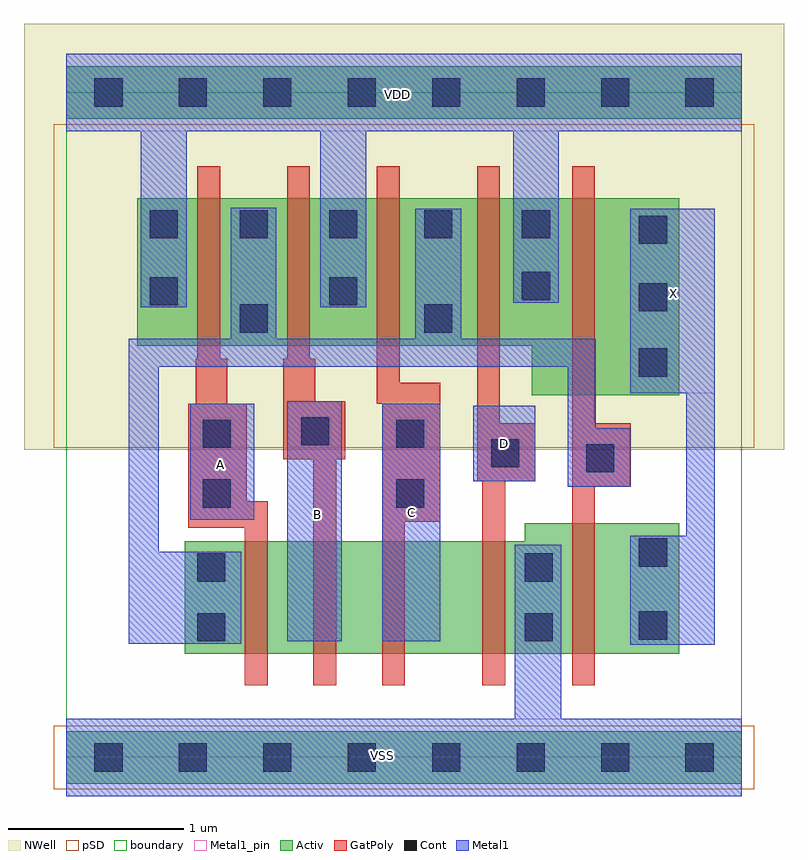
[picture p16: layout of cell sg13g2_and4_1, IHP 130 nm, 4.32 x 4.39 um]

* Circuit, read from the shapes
.subckt sg13g2_and4_1 A B C D VDD VSS X
XM1 n1 A n2 VSS sg13_lv_nmos w=0.64u l=0.13u
XM2 n3 B n1 VSS sg13_lv_nmos w=0.64u l=0.13u
XM3 n4 C n3 VSS sg13_lv_nmos w=0.64u l=0.13u
XM4 VSS D n4 VSS sg13_lv_nmos w=0.64u l=0.13u
XM5 X n2 VSS VSS sg13_lv_nmos w=0.74u l=0.13u
XM6 n2 A VDD VDD sg13_lv_pmos w=0.84u l=0.13u
XM7 VDD B n2 VDD sg13_lv_pmos w=0.84u l=0.13u
XM8 n2 C VDD VDD sg13_lv_pmos w=0.84u l=0.13u
XM9 VDD D n2 VDD sg13_lv_pmos w=0.84u l=0.13u
XM10 X n2 VDD VDD sg13_lv_pmos w=1.12u l=0.13u
.ends

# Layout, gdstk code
import gdstk
lib = gdstk.Library(unit=1e-6, precision=1e-09)
def R(c, l, rs):  # rectangles x0, y0, x1, y1
    for r in rs: c.add(gdstk.rectangle(r[:2], r[2:], *l))
def A(c, l, x, y, w, h, nx, ny, dx, dy):  # array of equal rectangles
    R(c, l, [(x+i*dx, y+j*dy, x+i*dx+w, y+j*dy+h) for i in range(nx) for j in range(ny)])
def P(c, l, *ps):  # polygons
    for p in ps: c.add(gdstk.Polygon(p, *l))
Activ = (1, 0)
GatPoly = (5, 0)
Cont = (6, 0)
Metal1 = (8, 0)
Metal1_pin = (8, 2)
pSD = (14, 0)
NWell = (31, 0)
boundary = (189, 4)

sg13g2_and4_1 = lib.new_cell('sg13g2_and4_1')
R(sg13g2_and4_1, Activ, [(0,-0.15,3.84,0.15), (0,3.63,3.84,3.93)])
P(sg13g2_and4_1, Activ, [(3.485,1.33),(2.605,1.33),(2.605,1.23),(0.675,1.23),(0.675,0.59),(3.485,0.59)],
  [(3.485,3.18),(0.405,3.18),(0.405,2.34),(2.645,2.34),(2.645,2.06),(3.485,2.06)])
P(sg13g2_and4_1, GatPoly, [(3.21,1.9),(3.005,1.9),(3.005,3.36),(2.875,3.36),(2.875,0.41),(3.005,0.41),(3.005,1.54),(3.21,1.54)],
  [(1.145,1.455),(1.025,1.455),(1.025,2.01),(0.915,2.01),(0.915,2.265),(0.875,2.265),(0.875,3.36),(0.745,3.36),(0.745,2.265),(0.735,2.265),(0.735,2.01),(0.695,2.01),(0.695,1.305),(1.015,1.305),(1.015,0.41),(1.145,0.41)],
  [(1.585,2.025),(1.415,2.025),(1.415,2.265),(1.385,2.265),(1.385,3.36),(1.255,3.36),(1.255,2.265),(1.235,2.265),(1.235,1.695),(1.405,1.695),(1.405,0.41),(1.535,0.41),(1.535,1.695),(1.585,1.695)],
  [(2.125,2.13),(1.895,2.13),(1.895,3.36),(1.765,3.36),(1.765,2.01),(1.795,2.01),(1.795,0.41),(1.925,0.41),(1.925,1.34),(2.125,1.34)],
  [(2.665,1.9),(2.465,1.9),(2.465,3.36),(2.335,3.36),(2.335,1.57),(2.365,1.57),(2.365,0.41),(2.495,0.41),(2.495,1.57),(2.665,1.57)])
A(sg13g2_and4_1, Cont, 0.16, -0.08, 0.16, 0.16, 8, 2, 0.48, 3.78)
A(sg13g2_and4_1, Cont, 0.475, 2.95, 0.16, 0.16, 3, 1, 0.51, 0)
R(sg13g2_and4_1, Cont, [(0.745,0.66,0.905,0.82), (2.605,0.66,2.765,0.82), (3.255,0.67,3.415,0.83), (0.745,1,0.905,1.16), (2.605,1,2.765,1.16), (3.255,1.085,3.415,1.245), (0.775,1.42,0.935,1.58), (1.875,1.42,2.035,1.58), (2.955,1.62,3.115,1.78), (2.415,1.65,2.575,1.81), (0.775,1.76,0.935,1.92), (1.875,1.76,2.035,1.92), (1.335,1.775,1.495,1.935), (3.255,2.165,3.415,2.325), (0.985,2.415,1.145,2.575), (2.035,2.415,2.195,2.575), (3.255,2.535,3.415,2.695), (0.475,2.57,0.635,2.73), (1.495,2.57,1.655,2.73), (2.59,2.6,2.75,2.76), (3.255,2.92,3.415,3.08), (2.035,2.95,2.195,3.11), (2.59,2.95,2.75,3.11)])
R(sg13g2_and4_1, Metal1, [(1.255,0.66,1.565,2.025), (1.795,0.66,2.125,2.01), (0.705,1.35,1.07,2.01), (2.315,1.57,2.665,2)])
P(sg13g2_and4_1, Metal1, [(3.84,0.22),(2.815,0.22),(2.815,1.21),(2.55,1.21),(2.55,0.22),(0,0.22),(0,-0.22),(3.84,-0.22)],
  [(3.84,4),(0,4),(0,3.56),(0.425,3.56),(0.425,2.56),(0.685,2.56),(0.685,3.56),(1.445,3.56),(1.445,2.56),(1.705,2.56),(1.705,3.56),(2.54,3.56),(2.54,2.585),(2.8,2.585),(2.8,3.56),(3.84,3.56)],
  [(3.685,3.12),(3.205,3.12),(3.205,2.07),(3.525,2.07),(3.525,1.26),(3.205,1.26),(3.205,0.64),(3.685,0.64)],
  [(3.205,1.87),(3.01,1.87),(3.01,2.38),(2.245,2.38),(2.245,3.12),(1.985,3.12),(1.985,2.38),(1.195,2.38),(1.195,3.125),(0.935,3.125),(0.935,2.38),(0.355,2.38),(0.355,0.645),(0.995,0.645),(0.995,1.17),(0.525,1.17),(0.525,2.22),(2.85,2.22),(2.85,1.54),(3.205,1.54)])
R(sg13g2_and4_1, Metal1_pin, [(0,-0.22,3.84,0.22), (1.255,0.66,1.565,2.025), (1.795,0.66,2.125,2.01), (0.705,1.35,1.07,2.01), (2.315,1.57,2.665,2), (3.205,2.07,3.685,3.12), (0,3.56,3.84,4)])
R(sg13g2_and4_1, pSD, [(-0.07,-0.18,3.91,0.18), (-0.07,1.76,3.91,3.6)])
R(sg13g2_and4_1, NWell, [(-0.24,1.75,4.08,4.17)])
R(sg13g2_and4_1, boundary, [(0,0,3.84,3.78)])
sg13g2_and4_1.add(gdstk.Label('X', (3.45,2.64), layer=8, texttype=25))
sg13g2_and4_1.add(gdstk.Label('B', (1.43,1.38), layer=8, texttype=25))
sg13g2_and4_1.add(gdstk.Label('A', (0.875,1.665), layer=8, texttype=25))
sg13g2_and4_1.add(gdstk.Label('VDD', (1.885,3.77), layer=8, texttype=25))
sg13g2_and4_1.add(gdstk.Label('VSS', (1.795,0.01), layer=8, texttype=25))
sg13g2_and4_1.add(gdstk.Label('C', (1.965,1.39), layer=8, texttype=25))
sg13g2_and4_1.add(gdstk.Label('D', (2.49,1.785), layer=8, texttype=25))

lib.write_gds('sg13g2_and4_1.gds')
